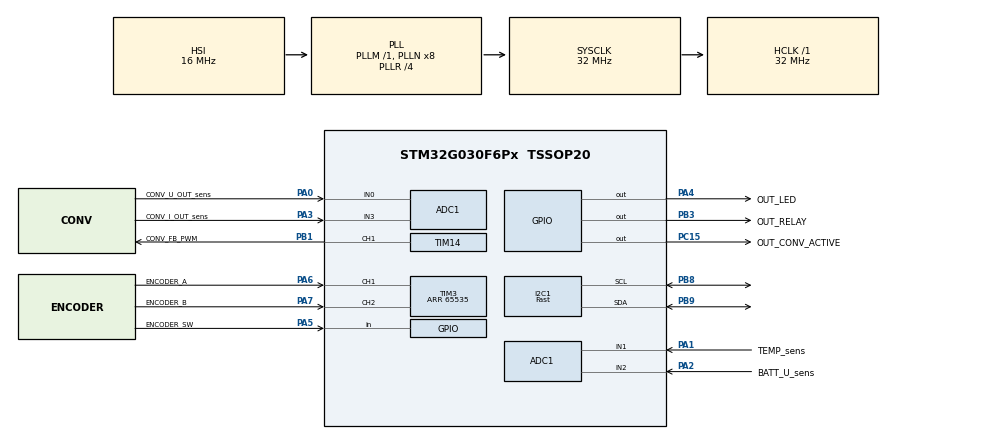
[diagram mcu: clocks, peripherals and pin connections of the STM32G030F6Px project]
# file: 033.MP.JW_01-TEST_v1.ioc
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ADC1.Channel-0\#ChannelRegularConversion=ADC_CHANNEL_0
ADC1.Channel-1\#ChannelRegularConversion=ADC_CHANNEL_1
ADC1.Channel-2\#ChannelRegularConversion=ADC_CHANNEL_2
ADC1.Channel-3\#ChannelRegularConversion=ADC_CHANNEL_3
ADC1.ClockPrescaler=ADC_CLOCK_SYNC_PCLK_DIV2
ADC1.ContinuousConvMode=ENABLE
ADC1.DMAContinuousRequests=ENABLE
ADC1.NbrOfConversion=4
ADC1.NbrOfConversionFlag=1
ADC1.OversamplingMode=ENABLE
ADC1.Rank-0\#ChannelRegularConversion=1
ADC1.Rank-1\#ChannelRegularConversion=2
ADC1.Rank-2\#ChannelRegularConversion=3
ADC1.Rank-3\#ChannelRegularConversion=4
ADC1.Ratio=ADC_OVERSAMPLING_RATIO_256
ADC1.RightBitShift=ADC_RIGHTBITSHIFT_8
ADC1.SamplingTime-0\#ChannelRegularConversion=ADC_SAMPLINGTIME_COMMON_1
ADC1.SamplingTime-1\#ChannelRegularConversion=ADC_SAMPLINGTIME_COMMON_1
ADC1.SamplingTime-2\#ChannelRegularConversion=ADC_SAMPLINGTIME_COMMON_1
ADC1.SamplingTime-3\#ChannelRegularConversion=ADC_SAMPLINGTIME_COMMON_1
ADC1.SamplingTimeCommon1=ADC_SAMPLETIME_160CYCLES_5
ADC1.SamplingTimeCommon2=ADC_SAMPLETIME_160CYCLES_5
ADC1.SelectedChannel=ADC_CHANNEL_0|ADC_CHANNEL_1|ADC_CHANNEL_2|ADC_CHANNEL_3|ADC_CHANNEL_VBAT
ADC1.TriggerFrequencyMode=ADC_TRIGGER_FREQ_LOW
ADC1.master=1
Dma.ADC1.0.Direction=DMA_PERIPH_TO_MEMORY
Dma.ADC1.0.EventEnable=DISABLE
Dma.ADC1.0.Instance=DMA1_Channel1
Dma.ADC1.0.MemDataAlignment=DMA_MDATAALIGN_WORD
Dma.ADC1.0.MemInc=DMA_MINC_ENABLE
Dma.ADC1.0.Mode=DMA_CIRCULAR
Dma.ADC1.0.PeriphDataAlignment=DMA_PDATAALIGN_WORD
Dma.ADC1.0.PeriphInc=DMA_PINC_DISABLE
Dma.ADC1.0.Polarity=HAL_DMAMUX_REQ_GEN_RISING
Dma.ADC1.0.Priority=DMA_PRIORITY_LOW
Dma.ADC1.0.RequestNumber=1
Dma.ADC1.0.SignalID=NONE
Dma.ADC1.0.SyncEnable=DISABLE
Dma.ADC1.0.SyncPolarity=HAL_DMAMUX_SYNC_NO_EVENT
Dma.ADC1.0.SyncRequestNumber=1
Dma.ADC1.0.SyncSignalID=NONE
Dma.Request0=ADC1
I2C1.CustomTiming=Disabled
I2C1.I2C_Speed_Mode=I2C_Fast
I2C1.Timing=0x0060112F
Mcu.Family=STM32G0
Mcu.Name=STM32G030F6Px
Mcu.Package=TSSOP20
NVIC.DMA1_Channel1_IRQn=true\:0\:0\:false\:false\:true\:false\:true\:true
NVIC.TIM3_IRQn=true\:0\:0\:false\:false\:true\:true\:true\:true
PA0.GPIO_Label=CONV_U_OUT_sens
PA0.Mode=IN0
PA0.Signal=ADC1_IN0
PA1.GPIO_Label=TEMP_sens
PA1.Mode=IN1
PA1.Signal=ADC1_IN1
PA14-BOOT0__PA15.StandardMode=true
PA2.GPIO_Label=BATT_U_sens
PA2.Mode=IN2
PA2.Signal=ADC1_IN2
PA3.GPIO_Label=CONV_I_OUT_sens
PA3.Mode=IN3
PA3.Signal=ADC1_IN3
PA4.GPIO_Label=OUT_LED
PA4.GPIO_PuPd=GPIO_PULLDOWN
PA4.Signal=GPIO_Output
PA5.GPIO_Label=ENCODER_SW
PA5.GPIO_PuPd=GPIO_PULLUP
PA5.Signal=GPIO_Input
PA6.GPIO_Label=ENCODER_A
PA6.GPIO_PuPd=GPIO_PULLUP
PA6.Signal=S_TIM3_CH1
PA7.GPIO_Label=ENCODER_B
PA7.GPIO_PuPd=GPIO_PULLUP
PA7.Signal=S_TIM3_CH2
PB0__PB1__PB2__PA8.StandardMode=true
PB1.GPIO_Label=CONV_FB_PWM
PB1.GPIO_PuPd=GPIO_PULLDOWN
PB1.GPIO_Speed=GPIO_SPEED_FREQ_VERY_HIGH
PB1.Signal=S_TIM14_CH1
PB3.GPIO_Label=OUT_RELAY
PB3.GPIO_PuPd=GPIO_PULLDOWN
PB3.Signal=GPIO_Output
PB3__PB4__PB5__PB6.StandardMode=true
PB7__PB8.StandardMode=true
PB8.GPIO_Pu=GPIO_NOPULL
PB8.Mode=I2C
PB8.Signal=I2C1_SCL
PB9.GPIO_Pu=GPIO_NOPULL
PB9.Mode=I2C
PB9.Signal=I2C1_SDA
PC14-OSC32_IN\ (PC14)__PB9.StandardMode=true
PC15-OSC32_OUT\ (PC15).GPIO_Label=OUT_CONV_ACTIVE
PC15-OSC32_OUT\ (PC15).GPIO_PuPd=GPIO_PULLDOWN
PC15-OSC32_OUT\ (PC15).Signal=GPIO_Output
ProjectManager.HeapSize=0x200
ProjectManager.StackSize=0x400
ProjectManager.TargetToolchain=STM32CubeIDE
RCC.ADCFreq_Value=32000000
RCC.AHBFreq_Value=32000000
RCC.CortexFreq_Value=32000000
RCC.EXTERNAL_CLOCK_VALUE=12288000
RCC.HCLKFreq_Value=32000000
RCC.HSE_VALUE=8000000
RCC.HSI_VALUE=16000000
RCC.LSE_VALUE=32768
RCC.PLLR=RCC_PLLR_DIV4
RCC.SYSCLKFreq_VALUE=32000000
RCC.SYSCLKSource=RCC_SYSCLKSOURCE_PLLCLK
RCC.VCOOutputFreq_Value=128000000
SH.S_TIM14_CH1.0=TIM14_CH1,PWM Generation1 CH1
SH.S_TIM3_CH1.0=TIM3_CH1,Encoder_Interface
SH.S_TIM3_CH2.0=TIM3_CH2,Encoder_Interface
TIM14.AutoReloadPreload=TIM_AUTORELOAD_PRELOAD_ENABLE
TIM14.Channel=TIM_CHANNEL_1
TIM14.ClockDivision=TIM_CLOCKDIVISION_DIV1
TIM14.Period=1999
TIM14.Prescaler=9
TIM3.EncoderMode=TIM_ENCODERMODE_TI1
TIM3.IC1Filter=15
TIM3.IC1Polarity=TIM_ICPOLARITY_FALLING
TIM3.IC2Filter=15
TIM3.IC2Polarity=TIM_ICPOLARITY_FALLING
TIM3.Period=65535
VP_ADC1_Vbat_Input.Mode=IN-Vbat
VP_TIM14_VS_ClockSourceINT.Mode=Enable_Timer
board=custom

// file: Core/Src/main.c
/* USER CODE BEGIN Header */
/**
 ******************************************************************************
 * @file           : main.c
 * @brief          : Main program body
 ******************************************************************************
 * @attention
 *
 * Copyright (c) 2024 STMicroelectronics.
 * All rights reserved.
 *
 * This software is licensed under terms that can be found in the LICENSE file
 * in the root directory of this software component.
 * If no LICENSE file comes with this software, it is provided AS-IS.
 *
 ******************************************************************************
 */
/* USER CODE END Header */
#include "main.h"

/* USER CODE BEGIN Includes */
#include "Anglas_INA226.h"
#include "fonts.h"
#include "ssd1306.h"
#include "ftoa.h"
#include "stdlib.h"
#include "math.h"

/* USER CODE END Includes */

/* USER CODE BEGIN PD */
#define mes_size 4	//size of adc buffer
#define conv_pwm_arr 2000	//pwm max
#define soldering_error_value 0	//solder station error value (based on PTC)

int16_t pwm = 0;	//pwm
uint32_t adc_raw_value[mes_size]; //raw ADC

//interface
//variable to control encoder puschbuttons
uint32_t pushbutton_encoder_counter = 0;
uint32_t pushbutton_encoder = 0;
uint32_t sw_encoder_last_time = 0;
uint32_t current_time = 0;
const uint16_t switch_time[] =
    {
    100, 1000
    };
int16_t encoder_rot = -1;
int16_t encoder_rot_prev = 0;

//variable to control
uint8_t screen_indicator = 0;
uint8_t main_screen = 0;
uint8_t main_screen_old = 0;
uint8_t work_mode = 0;
uint8_t mode_data = 0;

//solder station
uint16_t set_temp = 365;
uint16_t mes_temp = 0;
uint8_t solder_station_error = 0;

//converter
float set_voltage = 5.0f;	//in V
int16_t set_current = 1000;	//in mA
float mes_voltage = 0.0f;	//in V
int16_t mes_current = 0;	//in mA
float mes_power =0.0f;

/* USER CODE END PD */

ADC_HandleTypeDef hadc1;
DMA_HandleTypeDef hdma_adc1;

I2C_HandleTypeDef hi2c1;

TIM_HandleTypeDef htim3;
TIM_HandleTypeDef htim14;

/* USER CODE BEGIN PV */
//map int
long map(long x, long in_min, long in_max, long out_min, long out_max)
    {
    /*
     * map function or linear transformation
     * x - value to scale
     * in_min - min input value to be scaled
     * in_max - max input value to be scaled
     * out_min - min output value after scaled
     * out_max - max output value after scaled
     */
    return (x - in_min) * (out_max - out_min) / (in_max - in_min) + out_min;
    }
//map float
float map_f(float x, float in_min, float in_max, float out_min, float out_max)
    {
    /*
     *  map function or linear transformation
     * x - value to scale
     * in_min - min input value to be scaled
     * in_max - max input value to be scaled
     * out_min - min output value after scaled
     * out_max - max output value after scaled
     */
    return (x - in_min) * (out_max - out_min) / (in_max - in_min) + out_min;
    }

//constrain int
int64_t constrain(int64_t x, int64_t a, int64_t b)
    {
    /*
     * function to limit the input values
     * x - input value
     * a - lowest value of the range
     * b - highest value of the range
     */

    if (x < a)
	{
	return a;
	}
    else if (x > b)
	{
	return b;
	}
    else
	return x;
    }

//constrain float
float constrain_f(float x, float a, float b)
    {
    /*
     * function to limit the input values
     * x - input value
     * a - lowest value of the range
     * b - highest value of the range
     */

    if (x < a)
	{
	return a;
	}
    else if (x > b)
	{
	return b;
	}
    else
	return x;
    }

//function to scrolling values int
int32_t scroll_value(int64_t input, int64_t min, int64_t max)
    {
    /*
     * function to scrolling the input values
     * input - input value
     * min - lowest value of the range
     * max - highest value of the range
     */

    if (input > max)
	{
	input = min;
	}
    else if (input < min)
	{
	input = max;
	}
    else
	{

	}
    return input;
    }

//function to scrolling values float
float scroll_value_f(float input, float min, float max)
    {
    /*
     * function to scrolling the input values
     * input - input value
     * min - lowest value of the range
     * max - highest value of the range
     */

    if (input > max)
	{
	input = min;
	}
    else if (input < min)
	{
	input = max;
	}
    else
	{

	}
    return input;
    }

//randomize a number from the range
int64_t random_number(int64_t min_rand, int64_t max_rand)
    {
    /*
     * function to randomize a number from the range
     * min_rand - lowest value of the range
     * max_rand - highest value of the range
     */

    int32_t tmp;
    if (max_rand >= min_rand)
	{
	max_rand -= min_rand;
	}
    else
	{
	tmp = min_rand - max_rand;
	min_rand = max_rand;
	max_rand = tmp;
	}
    return max_rand ? (rand() % max_rand + min_rand) : min_rand;
    }

//moving_average
void moving_average(const float *input, float *output, int length,
	int window_size)
    {
    if (window_size <= 0 || window_size > length)
	{
	return;
	}

    for (int i = 0; i <= length - window_size; i++)
	{
	float sum = 0.0f;
	for (int j = 0; j < window_size; j++)
	    {
	    sum += input[i + j];
	    }
	output[i] = sum / window_size;
	}
    }

//adc processing
float adc_read(uint8_t mode_out)
    {

    float U_reff = 3.3f;
    uint16_t adc_read_value[mes_size];
    float adc_ready_value[mes_size];

    float U_soc_batt = 0.0f;
    uint8_t soc_batt = 0;
    uint16_t T_solder = 0;
    float U_conv_out = 0.0f;
    float I_conv_out = 0.0f;

    float R_1 = 465.0f;
    float R_PTC = 0.0f;

    for (uint8_t i = 0; i <= (mes_size - 1); i++)
	{
	adc_read_value[i] = adc_raw_value[i];
	}

    for (uint8_t i = 0; i <= (mes_size - 1); i++)
	{
	adc_ready_value[i] = (U_reff / 4096) * adc_read_value[i];
	}

    //converter out coltage
    U_conv_out = adc_ready_value[0] * 11;

    // PTC temperature
    if (adc_ready_value[1] < 3.2f)
	{
	R_PTC = -((R_1 * adc_ready_value[1]) / (adc_ready_value[1] - U_reff));
	T_solder = (uint16_t) map_f(R_PTC, 50.8f, 110.0f, 22.0f, 400.0f);	//alternatywne nastawy 27C 53.3 ohm, 525C 223.7 ohm
	T_solder = T_solder * 0.50f;

	}
    else
	{
	T_solder = soldering_error_value;
	}

    //battery calculation
    U_soc_batt = (adc_ready_value[2] * 11) - 0.1f;
    soc_batt = (uint8_t) map_f(U_soc_batt, 18.0f, 21.0f, 0.0f, 100.0f);
    soc_batt = constrain(soc_batt, 0, 100);

    if (mode_out == 1)
	{
	return U_soc_batt;
	}
    else if (mode_out == 2)
	{
	return (float) soc_batt;
	}
    else if (mode_out == 3)
	{
	return (float) T_solder;
	}
    else if (mode_out == 4)
	{
	return U_conv_out;
	}
    else if (mode_out == 5)
	{
	return I_conv_out;
	}
    else
	{
	return 0;
	}

    }

//function to scrolling values from encoder to int
int32_t encoder_managment(int32_t input, int32_t min, int32_t max, int32_t step,
	uint8_t mode)
    {
    /*
     * function scroll values from encoder on the screen depending on the specified parameters
     * input - value to scroll
     * min - min scroll value
     * max - max scroll value
     * step - step to scroll
     * mode - if 1 is set the maximum value is not scrolled to the minimum value , if 0 after passing the maximum value returns the minimum value
     */

    encoder_rot = ( __HAL_TIM_GET_COUNTER(&htim3) >> 1); //encoder counter

    if (encoder_rot_prev > encoder_rot)
	{
	input = input - step;
	encoder_rot_prev = encoder_rot;
	}
    else if (encoder_rot_prev < encoder_rot)
	{
	input = input + step;
	encoder_rot_prev = encoder_rot;
	}
    else
	{

	}

    if (mode == 1)
	{
	input = constrain(input, min, max);
	}
    else
	{
	input = scroll_value(input, min, max);
	}

    return input;
    }

//function to scrolling values from encoder to float
float encoder_managment_f(float input, float min, float max, float step,
	uint8_t mode)
    {
    /*
     * function scroll values from encoder on the screen depending on the specified parameters
     * input - value to scroll
     * min - min scroll value
     * max - max scroll value
     * step - step to scroll
     * mode - if 1 is set the maximum value is not scrolled to the minimum value , if 0 after passing the maximum value returns the minimum value
     */

    encoder_rot = ( __HAL_TIM_GET_COUNTER(&htim3) >> 1); //encoder counter

    if (encoder_rot_prev > encoder_rot)
	{
	input = input - step;
	encoder_rot_prev = encoder_rot;
	}
    else if (encoder_rot_prev < encoder_rot)
	{
	input = input + step;
	encoder_rot_prev = encoder_rot;
	}
    else
	{

	}

    if (mode == 1)
	{
	input = constrain_f(input, min, max);
	}
    else
	{
	input = scroll_value_f(input, min, max);
	}

    return input;
    }

//screen converter
void oled_converter(void)
    {

    char screen_text_buff[5];
    uint8_t high_init = 0;
    uint8_t high = high_init;
    uint8_t data_step = 10;
    uint8_t on_off_sw = 0;
    uint8_t u_set_sw = 0;
    uint8_t i_set_sw = 0;

    SSD1306_GotoXY(1, high);
    SSD1306_Puts("-SUPPLY- ", &Font_7x10, 1);

    if (screen_indicator == 0)
	{
	on_off_sw = 0;
	u_set_sw = 1;
	i_set_sw = 1;
	}
    else if (screen_indicator == 1)
	{
	on_off_sw = 1;
	u_set_sw = 0;
	i_set_sw = 1;
	}
    else
	{
	on_off_sw = 1;
	u_set_sw = 1;
	i_set_sw = 0;
	}

    if (work_mode == 1)
	{
	SSD1306_Puts("ON ", &Font_7x10, on_off_sw);
	}
    else if (work_mode == 0)
	{
	SSD1306_Puts("OFF", &Font_7x10, on_off_sw);
	}
    else
	{
	SSD1306_Puts("ERR", &Font_7x10, on_off_sw);
	}

    high = high + data_step;
    SSD1306_GotoXY(1, high);
    SSD1306_Puts("U Set [V]: ", &Font_7x10, u_set_sw);
    ftoa(screen_text_buff, set_voltage, 1);
    SSD1306_Puts(screen_text_buff, &Font_7x10, 1);
    SSD1306_Puts("  ", &Font_7x10, 1);

    high = high + data_step;
    SSD1306_GotoXY(1, high);
    SSD1306_Puts("I Set [mA]: ", &Font_7x10, i_set_sw);
    itoa(set_current, screen_text_buff, 10);
    SSD1306_Puts(screen_text_buff, &Font_7x10, 1);
    SSD1306_Puts("  ", &Font_7x10, 1);

    high = high + data_step;
    SSD1306_GotoXY(1, high);
    SSD1306_Puts("U Mes [V]: ", &Font_7x10, 1);
    ftoa(screen_text_buff, mes_voltage, 1);
    SSD1306_Puts(screen_text_buff, &Font_7x10, 1);
    SSD1306_Puts("  ", &Font_7x10, 1);

    high = high + data_step;
    SSD1306_GotoXY(1, high);
    SSD1306_Puts("I Mes [mA]: ", &Font_7x10, 1);
    itoa(mes_current, screen_text_buff, 10);
    SSD1306_Puts(screen_text_buff, &Font_7x10, 1);
    SSD1306_Puts("   ", &Font_7x10, 1);

    //battery level
    high = high + data_step;
    SSD1306_GotoXY(1, high);
    SSD1306_Puts("BATT [V]: ", &Font_7x10, 1);
    ftoa(screen_text_buff, adc_read(1), 1);
    SSD1306_Puts(screen_text_buff, &Font_7x10, 1);
    SSD1306_Puts("  ", &Font_7x10, 1);

    //show data
    SSD1306_UpdateScreen();
    }

//screen solder station
void oled_solder_station(void)
    {

    //data to set cursor
    char screen_text_buff[5];
    uint8_t high_init = 0;
    uint8_t high = high_init;
    uint8_t data_step = 10;
    uint8_t on_off_sw = 0;
    uint8_t t_set_sw = 0;

    if (screen_indicator == 0)
	{
	on_off_sw = 0;
	t_set_sw = 1;
	}
    else
	{
	on_off_sw = 1;
	t_set_sw = 0;
	}

    //show title
    SSD1306_GotoXY(1, high);
    SSD1306_Puts("-SOLDER- ", &Font_7x10, 1);

    solder_station_error = 0;
    if ((work_mode == 1) && (adc_read(3) != soldering_error_value))
	{
	SSD1306_Puts("ON ", &Font_7x10, on_off_sw);
	}
    else if ((work_mode == 0) && (adc_read(3) != 0.0f))
	{
	SSD1306_Puts("OFF", &Font_7x10, on_off_sw);
	}
    else
	{
	solder_station_error = 1;
	SSD1306_Puts("ERR", &Font_7x10, on_off_sw);
	}

    high = high + data_step;
    SSD1306_GotoXY(1, high);
    SSD1306_Puts("Temp Set[C]: ", &Font_7x10, t_set_sw);
    itoa(set_temp, screen_text_buff, 10);
    SSD1306_Puts(screen_text_buff, &Font_7x10, 1);
    SSD1306_Puts("  ", &Font_7x10, 1);

    high = high + data_step;
    SSD1306_GotoXY(1, high);
    SSD1306_Puts("Temp Mes[C]: ", &Font_7x10, 1);
    itoa(mes_temp, screen_text_buff, 10);
    SSD1306_Puts(screen_text_buff, &Font_7x10, 1);
    SSD1306_Puts("  ", &Font_7x10, 1);

    //solder power
    high = high + data_step;
    SSD1306_GotoXY(1, high);
    SSD1306_Puts("POW [W]: ", &Font_7x10, 1);
    ftoa(screen_text_buff, mes_power, 1);
    SSD1306_Puts(screen_text_buff, &Font_7x10, 1);
    SSD1306_Puts("  ", &Font_7x10, 1);

    //battery level
    high = high + data_step;
    SSD1306_GotoXY(1, high);
    SSD1306_Puts("BATT [V]: ", &Font_7x10, 1);
    ftoa(screen_text_buff, adc_read(1), 1);
    SSD1306_Puts(screen_text_buff, &Font_7x10, 1);
    SSD1306_Puts("  ", &Font_7x10, 1);

    //show data
    SSD1306_UpdateScreen();
    }

//welcome screen
void oled_hello(void)
    {
    //show start screen
    HAL_Delay(100);
    SSD1306_GotoXY(10, 10);
    SSD1306_Puts("INIT OK", &Font_7x10, 1);
    SSD1306_UpdateScreen();
    HAL_Delay(500);
    SSD1306_Clear();
    }

//debug screen
void oled_debug(uint8_t x, uint8_t y, char name[], int32_t data,
	uint32_t time)
    {
    char label[6];
    SSD1306_Clear();
    SSD1306_GotoXY(x, y);
    SSD1306_Puts(name, &Font_7x10, 1);
    SSD1306_Puts(" ", &Font_7x10, 1);
    itoa(data, label, 10);
    SSD1306_Puts(label, &Font_7x10, 1);
    SSD1306_Puts(" ", &Font_7x10, 1);
    SSD1306_UpdateScreen();
    HAL_Delay(time);
    SSD1306_Clear();
    }

//main task
void interface_task(void)
    {

    //switch function
    if (HAL_GPIO_ReadPin(ENCODER_SW_GPIO_Port, ENCODER_SW_Pin)
	    == GPIO_PIN_RESET)
	{

	}
    else
	{
	if ((current_time - sw_encoder_last_time) >= switch_time[1])
	    {
	    main_screen++;
	    }
	else if (((current_time - sw_encoder_last_time) > switch_time[0])
		&& ((current_time - sw_encoder_last_time) < switch_time[1]))
	    {
	    screen_indicator++;
	    }
	else
	    {

	    }
	sw_encoder_last_time = current_time;
	}

    //if solder iron is unconected switch screen
    if(adc_read(3) == soldering_error_value)
	{
	if (main_screen == 0)
	    {
	    main_screen = 1;
	    work_mode = 0;
	    }
	}

    if (main_screen == 0)	//solder station mode
	{
	mes_temp = (uint16_t) adc_read(3);
	mes_power = INA226_Power();

	if (screen_indicator == 1)
	    {
	    set_temp = encoder_managment(set_temp, 30, 500, 5, 1);
	    }
	else if (screen_indicator == 0)
	    {
	    work_mode = encoder_managment(work_mode, 0, 1, 1, 1);
	    }
	else
	    {
	    screen_indicator = 0;
	    }
	}
    else if (main_screen == 1)	//supply source mode
	{
	if (screen_indicator == 1)
	    {
	    set_voltage = encoder_managment_f(set_voltage, 0.0f, 32.0f, 0.1f,
		    1);
	    }
	else if (screen_indicator == 2)
	    {
	    set_current = encoder_managment(set_current, 0, 3000, 50 , 1);
	    }
	else if (screen_indicator == 0)
	    {
	    work_mode = encoder_managment(work_mode, 0, 1, 1, 1);
	    }
	else
	    {
	    screen_indicator = 0;
	    }
	}
    else	//reset state
	{
	main_screen = 0;
	work_mode = 0;
	screen_indicator = 0;
	}

    //settings for screen update
    current_time = HAL_GetTick();
    static uint32_t last_oled_time = 0;
    const uint32_t oled_interval = 300;

    //screen update procedure
	if (current_time - last_oled_time > oled_interval)
	    {

	    if (main_screen == 1)
		{
		oled_converter();
		}
	    else if (main_screen == 0)
		{
		oled_solder_station();
		}

	    //clear screen if is new
	    if (main_screen != main_screen_old)
		{
		SSD1306_Clear();
		main_screen_old = main_screen;
		}

	    last_oled_time = current_time;
	    }

    //read adc
    mes_voltage = INA226_Vbus();
    mes_current = (uint16_t) INA226_Current();

    //work
    if (work_mode == 0)	//off
	{
	HAL_GPIO_WritePin(OUT_RELAY_GPIO_Port, OUT_RELAY_Pin, RESET);

	HAL_GPIO_WritePin(OUT_LED_GPIO_Port, OUT_LED_Pin, RESET);

	if(main_screen == 1)
	    {
	    //proximity range of pwm in off mode if device is active
	    pwm =(int16_t) map_f(fabs(set_voltage - mes_voltage), 0.0f, 32.0f, 1990.0f, 40.0f);
	    }
	else
	    {

	    pwm = conv_pwm_arr;
	    }

	__HAL_TIM_SET_COMPARE(&htim14, TIM_CHANNEL_1, pwm);	//off converter

	HAL_GPIO_WritePin(OUT_CONV_ACTIVE_GPIO_Port, OUT_CONV_ACTIVE_Pin, RESET);
	}
    else	//on
	{
	if ((main_screen == 0) && (adc_read(3) != soldering_error_value))//solder station
	    {
	    HAL_GPIO_WritePin(OUT_RELAY_GPIO_Port, OUT_RELAY_Pin, RESET);
	    HAL_GPIO_WritePin(OUT_CONV_ACTIVE_GPIO_Port, OUT_CONV_ACTIVE_Pin, SET);

	    uint16_t temp_diff = abs(set_temp-mes_temp);
	    if(temp_diff>20)
		{
		    temp_diff = map(temp_diff, 1, 100, 1, 400);
		    temp_diff = constrain(temp_diff, 1, 400);
		}
	    else
		{
		   temp_diff = 1;
		}

		     if(set_temp>mes_temp)
		      {

		      if( (mes_voltage<21.0f) && (mes_power<50.0f) && (mes_current<3000.0f))
			  {
			      pwm = pwm - (1*temp_diff);
			      HAL_GPIO_WritePin(OUT_LED_GPIO_Port, OUT_LED_Pin, SET);
			  }
		      else
			  {

			  }
		      }
		      else if((set_temp<mes_temp) || (mes_voltage>20.0f+1.0f) || (mes_power>47.5f+5.0f) || (mes_current>3000+100))	//decrease powem
		      {
		      HAL_GPIO_WritePin(OUT_LED_GPIO_Port, OUT_LED_Pin, RESET);
		      pwm = pwm + (1*temp_diff);
		      }
	    }
	else if (main_screen == 1) //converter
	    {
	    HAL_GPIO_WritePin(OUT_RELAY_GPIO_Port, OUT_RELAY_Pin, SET);
	    HAL_GPIO_WritePin(OUT_CONV_ACTIVE_GPIO_Port, OUT_CONV_ACTIVE_Pin, SET);

	    float voltage_diff = fabs(set_voltage - mes_voltage);
	    static float prev_voltage_diff = 0;

	    //factors
	    const float voltage_lim_1 = 0.1f;
	    const float voltage_lim_2 = 2.5f;
	    float voltage_multiple_factor = 2.5f;
	    float prev_voltage_multiple_factor = 1.5f;

	    //factors limiting voltage fluctuations
	    if(mes_current<=2)
		{
		   voltage_multiple_factor = 1.0f;
		   prev_voltage_multiple_factor = 0.0f;
		}

	    // PWM logic
	    int16_t pwm_delta = 0;

	    if (set_voltage < mes_voltage)//decrease power - voltage
		{
		if ((voltage_diff <= voltage_lim_2)
			&& (voltage_diff >= voltage_lim_1))
		    {
		    pwm_delta = 1;
		    }
		else if (voltage_diff > voltage_lim_2)
		    {
		    pwm_delta = (int16_t) (voltage_diff
			    * voltage_multiple_factor
			    + prev_voltage_diff * prev_voltage_multiple_factor);
		    }
		}
	    else if  (mes_current > set_current)//decrease power - current
		{
		    pwm_delta = 1;

		    HAL_GPIO_WritePin(OUT_LED_GPIO_Port, OUT_LED_Pin, RESET);
		}
	    else if ((set_voltage > mes_voltage) && (mes_current < set_current))//increase power
		{
		 HAL_GPIO_WritePin(OUT_LED_GPIO_Port, OUT_LED_Pin, SET);

		if ((voltage_diff <= voltage_lim_2)
			&& (voltage_diff >= voltage_lim_1))
		    {
		    pwm_delta = -1;
		    }
		else if (voltage_diff > voltage_lim_2)
		    {
		    pwm_delta = -(int16_t) (voltage_diff
			    * voltage_multiple_factor
			    + prev_voltage_diff * prev_voltage_multiple_factor);
		    }
		}

	    //limiting pwm per one step
	    const int16_t pwm_step_limit = 150;

	    if (pwm_delta > pwm_step_limit)
		{
		pwm_delta = pwm_step_limit;
		}
	    if (pwm_delta < -pwm_step_limit)
		{
		pwm_delta = -pwm_step_limit;
		}

	    pwm += pwm_delta;

	    prev_voltage_diff = voltage_diff;
	    }

	//set pwm
	pwm = constrain(pwm, 0, conv_pwm_arr);
	__HAL_TIM_SET_COMPARE(&htim14, TIM_CHANNEL_1, pwm);
	}
    }

/* USER CODE END PV */

void SystemClock_Config(void);
static void MX_GPIO_Init(void);
static void MX_DMA_Init(void);
static void MX_I2C1_Init(void);
static void MX_TIM3_Init(void);
static void MX_TIM14_Init(void);
static void MX_ADC1_Init(void);

int main(void)
{

  /* MCU Configuration--------------------------------------------------------*/

  /* Reset of all peripherals, Initializes the Flash interface and the Systick. */
  HAL_Init();

  /* Configure the system clock */
  SystemClock_Config();

  /* USER CODE BEGIN SysInit */
    HAL_Delay(100);
  /* USER CODE END SysInit */

  /* Initialize all configured peripherals */
  MX_GPIO_Init();
  MX_DMA_Init();
  MX_I2C1_Init();
  MX_TIM3_Init();
  MX_TIM14_Init();
  MX_ADC1_Init();
  /* USER CODE BEGIN 2 */

    HAL_Delay(100);

    SSD1306_Init();

//    INA226_Init(3000, 19, AVG_16, T_Vbus_204us, T_Vshunt_204us,
//	    MODE_SHUNT_BUS_CONTINUOUS);	//settings for XL6009

    INA226_Init(3000, 16, AVG_16, T_Vbus_140us, T_Vbus_140us,
	    MODE_SHUNT_BUS_CONTINUOUS);	//settings for XL6019

    //others modules
    HAL_ADCEx_Calibration_Start(&hadc1);
    HAL_TIM_Encoder_Start(&htim3, TIM_CHANNEL_ALL);	//encoder
    HAL_TIM_PWM_Start(&htim14, TIM_CHANNEL_1);
    HAL_ADC_Start_DMA(&hadc1, adc_raw_value, mes_size);

    oled_hello();

  /* USER CODE END 2 */

  /* Infinite loop */
  /* USER CODE BEGIN WHILE */
    while (1)
	{
	interface_task();

    /* USER CODE END WHILE */

	}
}

void SystemClock_Config(void)
{
  RCC_OscInitTypeDef RCC_OscInitStruct = {0};
  RCC_ClkInitTypeDef RCC_ClkInitStruct = {0};

  /** Configure the main internal regulator output voltage
  */
  HAL_PWREx_ControlVoltageScaling(PWR_REGULATOR_VOLTAGE_SCALE1);

  /** Initializes the RCC Oscillators according to the specified parameters
  * in the RCC_OscInitTypeDef structure.
  */
  RCC_OscInitStruct.OscillatorType = RCC_OSCILLATORTYPE_HSI;
  RCC_OscInitStruct.HSIState = RCC_HSI_ON;
  RCC_OscInitStruct.HSIDiv = RCC_HSI_DIV1;
  RCC_OscInitStruct.HSICalibrationValue = RCC_HSICALIBRATION_DEFAULT;
  RCC_OscInitStruct.PLL.PLLState = RCC_PLL_ON;
  RCC_OscInitStruct.PLL.PLLSource = RCC_PLLSOURCE_HSI;
  RCC_OscInitStruct.PLL.PLLM = RCC_PLLM_DIV1;
  RCC_OscInitStruct.PLL.PLLN = 8;
  RCC_OscInitStruct.PLL.PLLP = RCC_PLLP_DIV2;
  RCC_OscInitStruct.PLL.PLLR = RCC_PLLR_DIV4;
  if (HAL_RCC_OscConfig(&RCC_OscInitStruct) != HAL_OK)
  {
    Error_Handler();
  }

  /** Initializes the CPU, AHB and APB buses clocks
  */
  RCC_ClkInitStruct.ClockType = RCC_CLOCKTYPE_HCLK|RCC_CLOCKTYPE_SYSCLK
                              |RCC_CLOCKTYPE_PCLK1;
  RCC_ClkInitStruct.SYSCLKSource = RCC_SYSCLKSOURCE_PLLCLK;
  RCC_ClkInitStruct.AHBCLKDivider = RCC_SYSCLK_DIV1;
  RCC_ClkInitStruct.APB1CLKDivider = RCC_HCLK_DIV1;

  if (HAL_RCC_ClockConfig(&RCC_ClkInitStruct, FLASH_LATENCY_1) != HAL_OK)
  {
    Error_Handler();
  }
}

static void MX_ADC1_Init(void)
{

  ADC_ChannelConfTypeDef sConfig = {0};

  /** Configure the global features of the ADC (Clock, Resolution, Data Alignment and number of conversion)
  */
  hadc1.Instance = ADC1;
  hadc1.Init.ClockPrescaler = ADC_CLOCK_SYNC_PCLK_DIV2;
  hadc1.Init.Resolution = ADC_RESOLUTION_12B;
  hadc1.Init.DataAlign = ADC_DATAALIGN_RIGHT;
  hadc1.Init.ScanConvMode = ADC_SCAN_ENABLE;
  hadc1.Init.EOCSelection = ADC_EOC_SINGLE_CONV;
  hadc1.Init.LowPowerAutoWait = DISABLE;
  hadc1.Init.LowPowerAutoPowerOff = DISABLE;
  hadc1.Init.ContinuousConvMode = ENABLE;
  hadc1.Init.NbrOfConversion = 4;
  hadc1.Init.ExternalTrigConv = ADC_SOFTWARE_START;
  hadc1.Init.ExternalTrigConvEdge = ADC_EXTERNALTRIGCONVEDGE_NONE;
  hadc1.Init.DMAContinuousRequests = ENABLE;
  hadc1.Init.Overrun = ADC_OVR_DATA_PRESERVED;
  hadc1.Init.SamplingTimeCommon1 = ADC_SAMPLETIME_160CYCLES_5;
  hadc1.Init.SamplingTimeCommon2 = ADC_SAMPLETIME_160CYCLES_5;
  hadc1.Init.OversamplingMode = ENABLE;
  hadc1.Init.Oversampling.Ratio = ADC_OVERSAMPLING_RATIO_256;
  hadc1.Init.Oversampling.RightBitShift = ADC_RIGHTBITSHIFT_8;
  hadc1.Init.Oversampling.TriggeredMode = ADC_TRIGGEREDMODE_SINGLE_TRIGGER;
  hadc1.Init.TriggerFrequencyMode = ADC_TRIGGER_FREQ_LOW;
  if (HAL_ADC_Init(&hadc1) != HAL_OK)
  {
    Error_Handler();
  }

  /** Configure Regular Channel
  */
  sConfig.Channel = ADC_CHANNEL_0;
  sConfig.Rank = ADC_REGULAR_RANK_1;
  sConfig.SamplingTime = ADC_SAMPLINGTIME_COMMON_1;
  if (HAL_ADC_ConfigChannel(&hadc1, &sConfig) != HAL_OK)
  {
    Error_Handler();
  }

  /** Configure Regular Channel
  */
  sConfig.Channel = ADC_CHANNEL_1;
  sConfig.Rank = ADC_REGULAR_RANK_2;
  if (HAL_ADC_ConfigChannel(&hadc1, &sConfig) != HAL_OK)
  {
    Error_Handler();
  }

  /** Configure Regular Channel
  */
  sConfig.Channel = ADC_CHANNEL_2;
  sConfig.Rank = ADC_REGULAR_RANK_3;
  if (HAL_ADC_ConfigChannel(&hadc1, &sConfig) != HAL_OK)
  {
    Error_Handler();
  }

  /** Configure Regular Channel
  */
  sConfig.Channel = ADC_CHANNEL_3;
  sConfig.Rank = ADC_REGULAR_RANK_4;
  if (HAL_ADC_ConfigChannel(&hadc1, &sConfig) != HAL_OK)
  {
    Error_Handler();
  }

}

static void MX_I2C1_Init(void)
{

  hi2c1.Instance = I2C1;
  hi2c1.Init.Timing = 0x0060112F;
  hi2c1.Init.OwnAddress1 = 0;
  hi2c1.Init.AddressingMode = I2C_ADDRESSINGMODE_7BIT;
  hi2c1.Init.DualAddressMode = I2C_DUALADDRESS_DISABLE;
  hi2c1.Init.OwnAddress2 = 0;
  hi2c1.Init.OwnAddress2Masks = I2C_OA2_NOMASK;
  hi2c1.Init.GeneralCallMode = I2C_GENERALCALL_DISABLE;
  hi2c1.Init.NoStretchMode = I2C_NOSTRETCH_DISABLE;
  if (HAL_I2C_Init(&hi2c1) != HAL_OK)
  {
    Error_Handler();
  }

  /** Configure Analogue filter
  */
  if (HAL_I2CEx_ConfigAnalogFilter(&hi2c1, I2C_ANALOGFILTER_ENABLE) != HAL_OK)
  {
    Error_Handler();
  }

  /** Configure Digital filter
  */
  if (HAL_I2CEx_ConfigDigitalFilter(&hi2c1, 0) != HAL_OK)
  {
    Error_Handler();
  }

}

static void MX_TIM3_Init(void)
{

  TIM_Encoder_InitTypeDef sConfig = {0};
  TIM_MasterConfigTypeDef sMasterConfig = {0};

  htim3.Instance = TIM3;
  htim3.Init.Prescaler = 0;
  htim3.Init.CounterMode = TIM_COUNTERMODE_UP;
  htim3.Init.Period = 65535;
  htim3.Init.ClockDivision = TIM_CLOCKDIVISION_DIV1;
  htim3.Init.AutoReloadPreload = TIM_AUTORELOAD_PRELOAD_DISABLE;
  sConfig.EncoderMode = TIM_ENCODERMODE_TI1;
  sConfig.IC1Polarity = TIM_ICPOLARITY_FALLING;
  sConfig.IC1Selection = TIM_ICSELECTION_DIRECTTI;
  sConfig.IC1Prescaler = TIM_ICPSC_DIV1;
  sConfig.IC1Filter = 15;
  sConfig.IC2Polarity = TIM_ICPOLARITY_FALLING;
  sConfig.IC2Selection = TIM_ICSELECTION_DIRECTTI;
  sConfig.IC2Prescaler = TIM_ICPSC_DIV1;
  sConfig.IC2Filter = 15;
  if (HAL_TIM_Encoder_Init(&htim3, &sConfig) != HAL_OK)
  {
    Error_Handler();
  }
  sMasterConfig.MasterOutputTrigger = TIM_TRGO_RESET;
  sMasterConfig.MasterSlaveMode = TIM_MASTERSLAVEMODE_DISABLE;
  if (HAL_TIMEx_MasterConfigSynchronization(&htim3, &sMasterConfig) != HAL_OK)
  {
    Error_Handler();
  }

}

static void MX_TIM14_Init(void)
{

  TIM_OC_InitTypeDef sConfigOC = {0};

  htim14.Instance = TIM14;
  htim14.Init.Prescaler = 9;
  htim14.Init.CounterMode = TIM_COUNTERMODE_UP;
  htim14.Init.Period = 1999;
  htim14.Init.ClockDivision = TIM_CLOCKDIVISION_DIV1;
  htim14.Init.AutoReloadPreload = TIM_AUTORELOAD_PRELOAD_ENABLE;
  if (HAL_TIM_Base_Init(&htim14) != HAL_OK)
  {
    Error_Handler();
  }
  if (HAL_TIM_PWM_Init(&htim14) != HAL_OK)
  {
    Error_Handler();
  }
  sConfigOC.OCMode = TIM_OCMODE_PWM1;
  sConfigOC.Pulse = 0;
  sConfigOC.OCPolarity = TIM_OCPOLARITY_HIGH;
  sConfigOC.OCFastMode = TIM_OCFAST_DISABLE;
  if (HAL_TIM_PWM_ConfigChannel(&htim14, &sConfigOC, TIM_CHANNEL_1) != HAL_OK)
  {
    Error_Handler();
  }
  HAL_TIM_MspPostInit(&htim14);

}

static void MX_DMA_Init(void)
{

  /* DMA controller clock enable */
  __HAL_RCC_DMA1_CLK_ENABLE();

  /* DMA interrupt init */
  /* DMA1_Channel1_IRQn interrupt configuration */
  HAL_NVIC_SetPriority(DMA1_Channel1_IRQn, 0, 0);
  HAL_NVIC_EnableIRQ(DMA1_Channel1_IRQn);

}

static void MX_GPIO_Init(void)
{
  GPIO_InitTypeDef GPIO_InitStruct = {0};

  /* GPIO Ports Clock Enable */
  __HAL_RCC_GPIOB_CLK_ENABLE();
  __HAL_RCC_GPIOC_CLK_ENABLE();
  __HAL_RCC_GPIOA_CLK_ENABLE();

  /*Configure GPIO pin Output Level */
  HAL_GPIO_WritePin(OUT_CONV_ACTIVE_GPIO_Port, OUT_CONV_ACTIVE_Pin, GPIO_PIN_RESET);

  /*Configure GPIO pin Output Level */
  HAL_GPIO_WritePin(OUT_LED_GPIO_Port, OUT_LED_Pin, GPIO_PIN_RESET);

  /*Configure GPIO pin Output Level */
  HAL_GPIO_WritePin(OUT_RELAY_GPIO_Port, OUT_RELAY_Pin, GPIO_PIN_RESET);

  /*Configure GPIO pin : OUT_CONV_ACTIVE_Pin */
  GPIO_InitStruct.Pin = OUT_CONV_ACTIVE_Pin;
  GPIO_InitStruct.Mode = GPIO_MODE_OUTPUT_PP;
  GPIO_InitStruct.Pull = GPIO_PULLDOWN;
  GPIO_InitStruct.Speed = GPIO_SPEED_FREQ_LOW;
  HAL_GPIO_Init(OUT_CONV_ACTIVE_GPIO_Port, &GPIO_InitStruct);

  /*Configure GPIO pin : OUT_LED_Pin */
  GPIO_InitStruct.Pin = OUT_LED_Pin;
  GPIO_InitStruct.Mode = GPIO_MODE_OUTPUT_PP;
  GPIO_InitStruct.Pull = GPIO_PULLDOWN;
  GPIO_InitStruct.Speed = GPIO_SPEED_FREQ_LOW;
  HAL_GPIO_Init(OUT_LED_GPIO_Port, &GPIO_InitStruct);

  /*Configure GPIO pin : ENCODER_SW_Pin */
  GPIO_InitStruct.Pin = ENCODER_SW_Pin;
  GPIO_InitStruct.Mode = GPIO_MODE_INPUT;
  GPIO_InitStruct.Pull = GPIO_PULLUP;
  HAL_GPIO_Init(ENCODER_SW_GPIO_Port, &GPIO_InitStruct);

  /*Configure GPIO pin : OUT_RELAY_Pin */
  GPIO_InitStruct.Pin = OUT_RELAY_Pin;
  GPIO_InitStruct.Mode = GPIO_MODE_OUTPUT_PP;
  GPIO_InitStruct.Pull = GPIO_PULLDOWN;
  GPIO_InitStruct.Speed = GPIO_SPEED_FREQ_LOW;
  HAL_GPIO_Init(OUT_RELAY_GPIO_Port, &GPIO_InitStruct);

}

void Error_Handler(void)
{
    __disable_irq();
    while (1)
	{
	}
}
